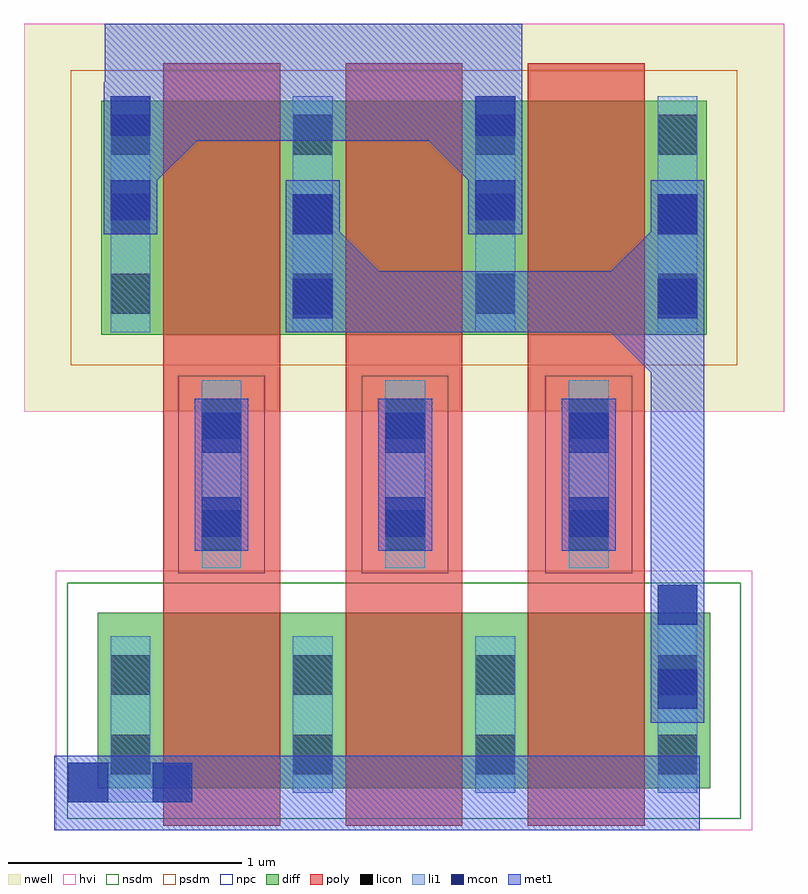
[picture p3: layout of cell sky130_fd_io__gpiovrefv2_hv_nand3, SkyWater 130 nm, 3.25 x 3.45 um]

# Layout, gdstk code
from math import pi, radians
import gdstk
lib = gdstk.Library(unit=1e-6, precision=1e-09)
def R(c, l, rs):  # rectangles x0, y0, x1, y1
    for r in rs: c.add(gdstk.rectangle(r[:2], r[2:], *l))
def A(c, l, x, y, w, h, nx, ny, dx, dy):  # array of equal rectangles
    R(c, l, [(x+i*dx, y+j*dy, x+i*dx+w, y+j*dy+h) for i in range(nx) for j in range(ny)])
def P(c, l, *ps):  # polygons
    for p in ps: c.add(gdstk.Polygon(p, *l))
nwell = (64, 20)
diff = (65, 20)
poly = (66, 20)
licon = (66, 44)
li1 = (67, 20)
mcon = (67, 44)
met1 = (68, 20)
hvi = (75, 20)
nsdm = (93, 44)
psdm = (94, 20)
npc = (95, 20)

dfl1sd2_cdns_52468879185 = lib.new_cell('DFL1sd2_CDNS_52468879185246')
R(dfl1sd2_cdns_52468879185, diff, [(0,0,0.28,0.75)])
R(dfl1sd2_cdns_52468879185, licon, [(0.055,0.06,0.225,0.23), (0.055,0.4,0.225,0.57)])
R(dfl1sd2_cdns_52468879185, li1, [(0.055,-0.02,0.225,0.65)])
R(dfl1sd2_cdns_52468879185, nsdm, [(-0.13,-0.13,0.41,0.88)])

nfet_cdns_52468879185814 = lib.new_cell('nfet_CDNS_52468879185814')
R(nfet_cdns_52468879185814, diff, [(-0.25,0,0,0.75), (0,0,0.5,0.75), (0.5,0,0.75,0.75)])
R(nfet_cdns_52468879185814, poly, [(0,-0.16,0.5,0), (0,-0.16,0.5,0.91), (0,0.75,0.5,0.91)])
R(nfet_cdns_52468879185814, li1, [(-0.225,-0.02,-0.055,0.65), (0.555,-0.02,0.725,0.65)])
R(nfet_cdns_52468879185814, hvi, [(-0.46,-0.18,0.96,0.93)])
R(nfet_cdns_52468879185814, nsdm, [(-0.25,-0.13,0.75,0.88)])
nfet_cdns_52468879185814.add(gdstk.Reference(dfl1sd2_cdns_52468879185, (0.5,0)))
nfet_cdns_52468879185814.add(gdstk.Reference(dfl1sd2_cdns_52468879185, (0,0), rotation=pi, x_reflection=True))
nfet_cdns_52468879185814.add(gdstk.Label('S', (-0.14,0.315), layer=83, texttype=44))
nfet_cdns_52468879185814.add(gdstk.Label('D', (0.64,0.315), layer=83, texttype=44))

dfl1sd_cdns_524688791852 = lib.new_cell('DFL1sd_CDNS_5246887918529')
R(dfl1sd_cdns_524688791852, nwell, [(-0.18,-0.18,0.445,1.18)])
R(dfl1sd_cdns_524688791852, diff, [(0,0,0.265,1)])
A(dfl1sd_cdns_524688791852, licon, 0.055, 0.06, 0.17, 0.17, 1, 3, 0, 0.34)
R(dfl1sd_cdns_524688791852, li1, [(0.055,-0.02,0.225,0.99)])
R(dfl1sd_cdns_524688791852, psdm, [(-0.13,-0.13,0.395,1.13)])

pfet_cdns_52468879185725 = lib.new_cell('pfet_CDNS_52468879185725')
R(pfet_cdns_52468879185725, nwell, [(-0.595,-0.33,1.095,1.33), (-0.445,-0.18,0.945,1.18)])
R(pfet_cdns_52468879185725, diff, [(-0.25,0,0,1), (0,0,0.5,1), (0.5,0,0.75,1)])
R(pfet_cdns_52468879185725, poly, [(0,-0.16,0.5,0), (0,-0.16,0.5,1.16), (0,1,0.5,1.16)])
R(pfet_cdns_52468879185725, li1, [(-0.225,-0.02,-0.055,0.99), (0.555,-0.02,0.725,0.99)])
R(pfet_cdns_52468879185725, hvi, [(-0.595,-0.33,1.095,1.33)])
R(pfet_cdns_52468879185725, psdm, [(-0.25,-0.13,0.75,1.13)])
pfet_cdns_52468879185725.add(gdstk.Reference(dfl1sd_cdns_524688791852, (0.5,0)))
pfet_cdns_52468879185725.add(gdstk.Reference(dfl1sd_cdns_524688791852, (0,0), rotation=pi, x_reflection=True))
pfet_cdns_52468879185725.add(gdstk.Label('S', (-0.14,0.485), layer=83, texttype=44))
pfet_cdns_52468879185725.add(gdstk.Label('D', (0.64,0.485), layer=83, texttype=44))

sky130_fd_io__gpiovrefv2 = lib.new_cell('sky130_fd_io__gpiovrefv2_hv_nand3')
A(sky130_fd_io__gpiovrefv2, poly, 0.595, 1.09, 0.5, 0.87, 3, 1, 0.78, 0)
A(sky130_fd_io__gpiovrefv2, licon, 0.76, 1.2, 0.17, 0.17, 3, 2, 0.785, 0.475)
A(sky130_fd_io__gpiovrefv2, mcon, 0.76, 1.255, 0.17, 0.17, 3, 2, 0.785, 0.36)
R(sky130_fd_io__gpiovrefv2, mcon, [(0.19,0.12,0.36,0.29), (0.55,0.12,0.72,0.29), (2.71,0.52,2.88,0.69), (2.71,0.88,2.88,1.05), (1.15,2.19,1.32,2.36), (2.71,2.19,2.88,2.36), (1.15,2.55,1.32,2.72), (2.71,2.55,2.88,2.72), (0.37,2.61,0.54,2.78), (1.93,2.61,2.1,2.78), (0.37,2.97,0.54,3.14), (1.93,2.97,2.1,3.14)])
R(sky130_fd_io__gpiovrefv2, met1, [(0.13,0,2.89,0.32)])
P(sky130_fd_io__gpiovrefv2, met1, [(2.91,2.56),(2.68,2.56),(2.51,2.39),(1.52,2.39),(1.35,2.56),(1.35,2.13),(2.51,2.13),(2.68,1.96),(2.68,0.875),(2.91,0.875)],
  [(2.13,3.45),(0.345,3.45),(0.345,2.95),(0.57,2.95),(0.57,2.78),(0.74,2.95),(1.73,2.95),(1.9,2.78),(1.9,2.95),(2.13,2.95)])
sky130_fd_io__gpiovrefv2.add(gdstk.FlexPath([(1.63,1.12),(1.63,1.925)], 0.33, ends="flush", simple_path=True, layer=66, datatype=20))  # poly
sky130_fd_io__gpiovrefv2.add(gdstk.FlexPath([(0.845,1.12),(0.845,1.925)], 0.33, ends="flush", simple_path=True, layer=66, datatype=20))  # poly
sky130_fd_io__gpiovrefv2.add(gdstk.FlexPath([(2.415,1.12),(2.415,1.925)], 0.33, ends="flush", simple_path=True, layer=66, datatype=20))  # poly
sky130_fd_io__gpiovrefv2.add(gdstk.FlexPath([(0.72,0.205),(0.19,0.205)], 0.17, ends="flush", simple_path=True, layer=67, datatype=20))  # li1
sky130_fd_io__gpiovrefv2.add(gdstk.FlexPath([(2.015,2.61),(2.015,3.14)], 0.17, ends="flush", simple_path=True, layer=67, datatype=20))  # li1
sky130_fd_io__gpiovrefv2.add(gdstk.FlexPath([(0.845,1.255),(0.845,1.785)], 0.17, ends="flush", simple_path=True, layer=67, datatype=20))  # li1
sky130_fd_io__gpiovrefv2.add(gdstk.FlexPath([(1.63,1.255),(1.63,1.785)], 0.17, ends="flush", simple_path=True, layer=67, datatype=20))  # li1
sky130_fd_io__gpiovrefv2.add(gdstk.FlexPath([(2.415,1.255),(2.415,1.785)], 0.17, ends="flush", simple_path=True, layer=67, datatype=20))  # li1
sky130_fd_io__gpiovrefv2.add(gdstk.FlexPath([(2.795,0.52),(2.795,1.05)], 0.17, ends="flush", simple_path=True, layer=67, datatype=20))  # li1
sky130_fd_io__gpiovrefv2.add(gdstk.FlexPath([(1.63,1.12),(1.63,1.925)], 0.17, ends="flush", simple_path=True, layer=67, datatype=20))  # li1
sky130_fd_io__gpiovrefv2.add(gdstk.FlexPath([(0.845,1.12),(0.845,1.925)], 0.17, ends="flush", simple_path=True, layer=67, datatype=20))  # li1
sky130_fd_io__gpiovrefv2.add(gdstk.FlexPath([(2.795,2.19),(2.795,2.72)], 0.17, ends="flush", simple_path=True, layer=67, datatype=20))  # li1
sky130_fd_io__gpiovrefv2.add(gdstk.FlexPath([(1.235,2.19),(1.235,2.72)], 0.17, ends="flush", simple_path=True, layer=67, datatype=20))  # li1
sky130_fd_io__gpiovrefv2.add(gdstk.FlexPath([(0.455,2.61),(0.455,3.14)], 0.17, ends="flush", simple_path=True, layer=67, datatype=20))  # li1
sky130_fd_io__gpiovrefv2.add(gdstk.FlexPath([(2.415,1.12),(2.415,1.925)], 0.17, ends="flush", simple_path=True, layer=67, datatype=20))  # li1
sky130_fd_io__gpiovrefv2.add(gdstk.FlexPath([(0.845,1.1),(0.845,1.945)], 0.37, ends="flush", simple_path=True, layer=95, datatype=20))  # npc
sky130_fd_io__gpiovrefv2.add(gdstk.FlexPath([(1.63,1.1),(1.63,1.945)], 0.37, ends="flush", simple_path=True, layer=95, datatype=20))  # npc
sky130_fd_io__gpiovrefv2.add(gdstk.FlexPath([(2.415,1.1),(2.415,1.945)], 0.37, ends="flush", simple_path=True, layer=95, datatype=20))  # npc
sky130_fd_io__gpiovrefv2.add(gdstk.FlexPath([(0.78,0.205),(0.13,0.205)], 0.23, ends="flush", simple_path=True, layer=68, datatype=20))  # met1
sky130_fd_io__gpiovrefv2.add(gdstk.FlexPath([(2.415,1.195),(2.415,1.845)], 0.23, ends="flush", simple_path=True, layer=68, datatype=20))  # met1
sky130_fd_io__gpiovrefv2.add(gdstk.FlexPath([(2.015,2.55),(2.015,3.2)], 0.23, ends="flush", simple_path=True, layer=68, datatype=20))  # met1
sky130_fd_io__gpiovrefv2.add(gdstk.FlexPath([(0.845,1.195),(0.845,1.845)], 0.23, ends="flush", simple_path=True, layer=68, datatype=20))  # met1
sky130_fd_io__gpiovrefv2.add(gdstk.FlexPath([(1.63,1.195),(1.63,1.845)], 0.23, ends="flush", simple_path=True, layer=68, datatype=20))  # met1
sky130_fd_io__gpiovrefv2.add(gdstk.FlexPath([(2.795,0.46),(2.795,1.11)], 0.23, ends="flush", simple_path=True, layer=68, datatype=20))  # met1
sky130_fd_io__gpiovrefv2.add(gdstk.FlexPath([(2.795,2.13),(2.795,2.78)], 0.23, ends="flush", simple_path=True, layer=68, datatype=20))  # met1
sky130_fd_io__gpiovrefv2.add(gdstk.FlexPath([(1.235,2.13),(1.235,2.78)], 0.23, ends="flush", simple_path=True, layer=68, datatype=20))  # met1
sky130_fd_io__gpiovrefv2.add(gdstk.FlexPath([(0.455,2.55),(0.455,3.2)], 0.23, ends="flush", simple_path=True, layer=68, datatype=20))  # met1
sky130_fd_io__gpiovrefv2.add(gdstk.Reference(nfet_cdns_52468879185814, (2.155,0.18)))
sky130_fd_io__gpiovrefv2.add(gdstk.Reference(nfet_cdns_52468879185814, (1.375,0.18)))
sky130_fd_io__gpiovrefv2.add(gdstk.Reference(nfet_cdns_52468879185814, (0.595,0.18)))
sky130_fd_io__gpiovrefv2.add(gdstk.Reference(pfet_cdns_52468879185725, (2.155,3.12), x_reflection=True))
sky130_fd_io__gpiovrefv2.add(gdstk.Reference(pfet_cdns_52468879185725, (0.595,3.12), x_reflection=True))
sky130_fd_io__gpiovrefv2.add(gdstk.Reference(pfet_cdns_52468879185725, (1.375,3.12), x_reflection=True))

lib.write_gds('sky130_fd_io__gpiovrefv2_hv_nand3.gds')
